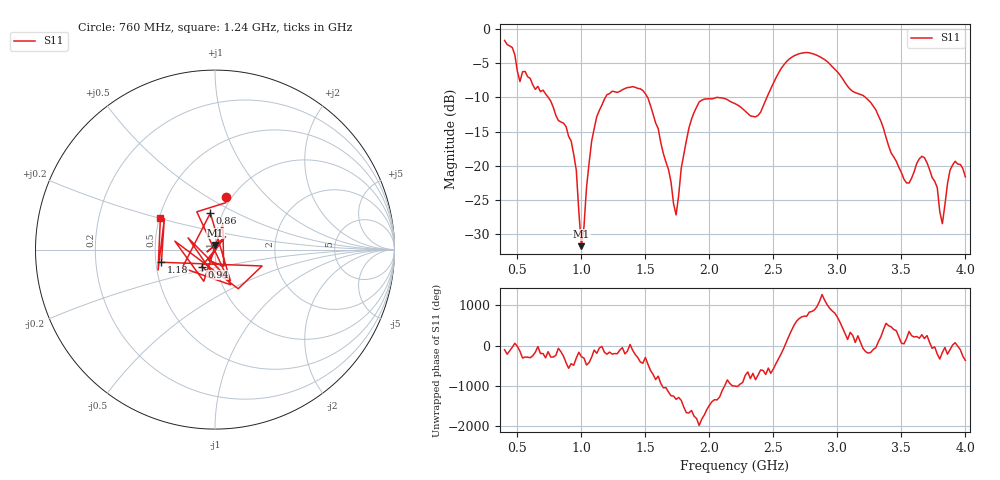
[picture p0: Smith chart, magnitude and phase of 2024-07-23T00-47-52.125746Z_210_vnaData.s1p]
!Created with skrf (http://scikit-rf.org).
# Hz S RI R 50.0
!freq ReS11 ImS11
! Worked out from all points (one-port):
!   181 points, 400 MHz to 4 GHz, reference 50 ohm
!   lowest |S11| = -31.8 dB at 1 GHz (marker M1), VSWR 1.05, Z = 50.2 + j2.58 ohm
!   |S11| at or under -10 dB: 740.7 MHz to 1.188 GHz (447.4 MHz wide, 46.4 % of centre); 1.517 GHz to 2.449 GHz (932.7 MHz wide, 47 % of centre); 3.218 GHz to end of sweep
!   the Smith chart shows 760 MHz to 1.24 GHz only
!   S11 on the Smith chart (normalised r, x): 760 MHz: 0.95, +0.60; 860 MHz: 0.88, +0.37; 940 MHz: 0.85, -0.16; 1.18 GHz: 0.54, -0.08; 1.24 GHz: 0.51, +0.20
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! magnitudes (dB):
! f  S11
! 400 MHz  -1.7
! 520 MHz  -7.7
! 760 MHz  -10.5
! 860 MHz  -13.8
! 940 MHz  -18.3
! 960 MHz  -20.6
! 1 GHz  -31.8
! 1.08 GHz  -16.4
! 1.18 GHz  -10.3
! 1.24 GHz  -9.1
! 1.3 GHz  -9.1
! 1.52 GHz  -10.1
! 1.74 GHz  -27.2
! 1.76 GHz  -24.3
! 1.84 GHz  -14.5
! 1.92 GHz  -10.7
! 2.2 GHz  -10.9
! 2.38 GHz  -12.6
! 2.66 GHz  -3.9
! 2.88 GHz  -4.2
! 3.1 GHz  -8.8
! 3.3 GHz  -11.8
! 3.56 GHz  -22.5
! 3.68 GHz  -18.8
! 3.78 GHz  -23.2
! 3.82 GHz  -28.5
! 3.88 GHz  -20.7
! 4 GHz  -21.6
